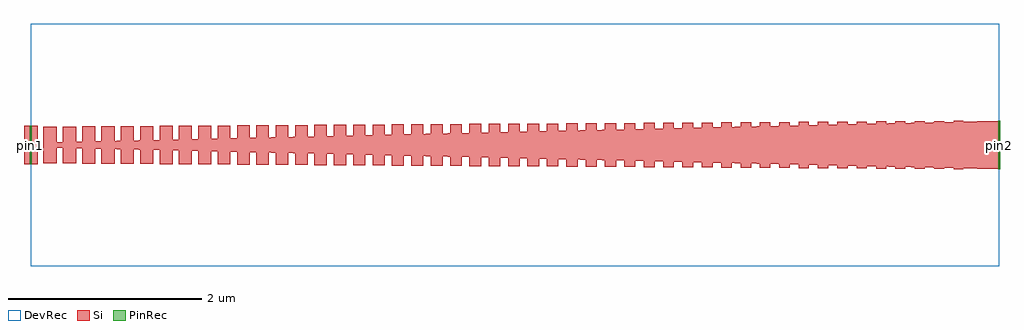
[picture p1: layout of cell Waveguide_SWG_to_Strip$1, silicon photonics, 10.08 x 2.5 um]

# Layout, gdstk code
import gdstk
lib = gdstk.Library(unit=1e-6, precision=1e-09)
def R(c, l, rs):  # rectangles x0, y0, x1, y1
    for r in rs: c.add(gdstk.rectangle(r[:2], r[2:], *l))
def P(c, l, *ps):  # polygons
    for p in ps: c.add(gdstk.Polygon(p, *l))
Si = (1, 0)
PinRec = (1, 10)
DevRec = (68, 0)

waveguide_swg_to_strip_1 = lib.new_cell('Waveguide_SWG_to_Strip$1')
R(waveguide_swg_to_strip_1, Si, [(9.53,-0.248,9.631,0.248), (9.33,-0.247,9.432,0.247), (9.13,-0.246,9.232,0.246), (8.93,-0.244,9.033,0.244), (8.73,-0.243,8.834,0.243), (8.53,-0.242,8.635,0.242), (8.33,-0.241,8.436,0.241), (8.13,-0.239,8.237,0.239), (7.93,-0.238,8.037,0.238), (7.73,-0.237,7.838,0.237), (7.53,-0.236,7.639,0.236), (7.33,-0.234,7.44,0.234), (7.13,-0.233,7.241,0.233), (6.93,-0.232,7.041,0.232), (6.73,-0.231,6.842,0.231), (6.53,-0.229,6.643,0.229), (6.33,-0.228,6.444,0.228), (6.13,-0.227,6.245,0.227), (5.93,-0.226,6.046,0.226), (5.73,-0.224,5.846,0.224), (5.53,-0.223,5.647,0.223), (5.33,-0.222,5.448,0.222), (5.13,-0.221,5.249,0.221), (4.93,-0.219,5.05,0.219), (4.73,-0.218,4.85,0.218), (4.53,-0.217,4.651,0.217), (4.33,-0.216,4.452,0.216), (4.13,-0.214,4.253,0.214), (3.93,-0.213,4.054,0.213), (3.73,-0.212,3.854,0.212), (3.53,-0.211,3.655,0.211), (3.33,-0.209,3.456,0.209), (3.13,-0.208,3.257,0.208), (2.93,-0.207,3.058,0.207), (2.73,-0.205,2.859,0.205), (2.53,-0.204,2.659,0.204), (2.33,-0.203,2.46,0.203), (2.13,-0.202,2.261,0.202), (-0.07,-0.2,0.07,0.2), (1.93,-0.2,2.062,0.2), (1.73,-0.199,1.863,0.199), (1.53,-0.198,1.663,0.198), (1.33,-0.197,1.464,0.197), (1.13,-0.195,1.265,0.195), (0.93,-0.194,1.066,0.194), (0.73,-0.193,0.867,0.193), (0.53,-0.192,0.668,0.192), (0.33,-0.19,0.468,0.19), (0.13,-0.189,0.269,0.189)])
P(waveguide_swg_to_strip_1, Si, [(10,-0.25),(0.204,-0.03),(0.204,0.03),(10,0.25)])
R(waveguide_swg_to_strip_1, DevRec, [(0,-1.25,10,1.25)])
waveguide_swg_to_strip_1.add(gdstk.FlexPath([(0.01,0),(-0.01,0)], 0.4, ends="flush", simple_path=True, layer=1, datatype=10))  # PinRec
waveguide_swg_to_strip_1.add(gdstk.FlexPath([(9.99,0),(10.01,0)], 0.5, ends="flush", simple_path=True, layer=1, datatype=10))  # PinRec
waveguide_swg_to_strip_1.add(gdstk.Label('pin1', (0,0), layer=1, texttype=10))
waveguide_swg_to_strip_1.add(gdstk.Label('pin2', (10,0), layer=1, texttype=10))

lib.write_gds('Waveguide_SWG_to_Strip_1.gds')
